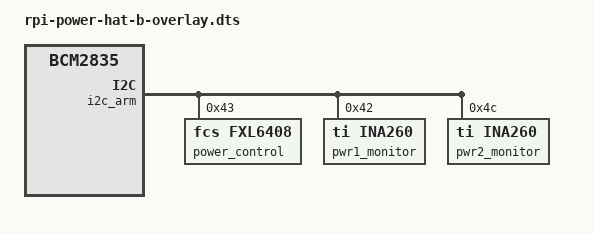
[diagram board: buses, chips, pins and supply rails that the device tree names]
// SPDX-License-Identifier: (GPL-2.0 OR MIT)
/dts-v1/;
/plugin/;

// Overlay for the Raspberry Pi Power Hat.
// 1 of 2 overlays required for top/bottom interchangeability

/ {
	compatible = "brcm,bcm2835";

	fragment@0 {
		target = <&i2c_arm>;
		__overlay__ {

			#address-cells = <1>;
			#size-cells = <0>;
			status = "okay";

			power_control: fxl6408@43 {
				reg = <0x43>;
				compatible = "fcs,fxl6408";
				gpio-controller;
				#gpio-cells = <2>;
				gpio-line-names =
					"B1_PWR",
					"B2_PWR",
					"B3",
					"B4",
					"B5",
					"B6",
					"B7",
					"B8";
			};

			pwr1_monitor: ina260@42 {
				reg = <0x42>;
				compatible = "ti,ina260";
			};

			pwr2_monitor: ina260@4c {
				reg = <0x4c>;
				compatible = "ti,ina260";
			};
		};
	};

	fragment@1 {
		target-path = "/";
		__overlay__ {
			rpi_power_hat_b: rpi-power-hat-b {
				compatible = "raspberrypi,rpi-power-hat-b";

				// References to the I2C devices
				power-controller = <&power_control>;
				power1-monitor = <&pwr1_monitor>;
				power2-monitor = <&pwr2_monitor>;
			};
		};
	};
};
